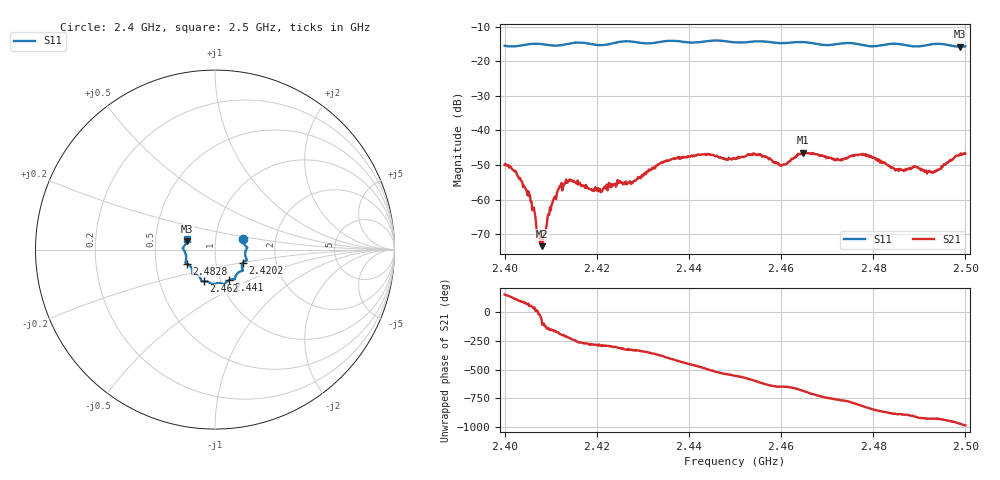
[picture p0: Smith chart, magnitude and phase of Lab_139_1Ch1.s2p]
# Hz S RI R 50
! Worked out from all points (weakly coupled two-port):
!   601 points, 2.4 GHz to 2.5 GHz, reference 50 ohm
!   highest |S21| = -46.42 dB at 2.4647 GHz (marker M1); lowest = -73.5 dB at 2.4082 GHz (marker M2)
!   lowest |S11| = -15.8 dB at 2.4988 GHz (marker M3), VSWR 1.39, Z = 36.4 + j3.4 ohm
!   |S11| at or under -10 dB: start of sweep to end of sweep
!   S12 and S22 are empty: the file has one direction only
!   S11 on the Smith chart (normalised r, x): 2.4 GHz: 1.36, +0.17; 2.4202 GHz: 1.35, -0.20; 2.441 GHz: 1.10, -0.39; 2.462 GHz: 0.83, -0.30; 2.4828 GHz: 0.72, -0.12; 2.5 GHz: 0.73, +0.09
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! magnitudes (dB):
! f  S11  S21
! 2.4 GHz  -15.5  -49.9
! 2.405 GHz  -15.1  -58.8
! 2.4075 GHz  -14.9  -69.3
! 2.4082 GHz  -15.0  -73.5
! 2.4103 GHz  -15.4  -61.1
! 2.4118 GHz  -15.4  -56.7
! 2.4143 GHz  -14.8  -54.5
! 2.4167 GHz  -14.6  -56.1
! 2.4202 GHz  -15.3  -57.5
! 2.4278 GHz  -14.3  -55.1
! 2.4333 GHz  -14.5  -49.7
! 2.441 GHz  -14.6  -47.3
! 2.45 GHz  -14.5  -48.3
! 2.462 GHz  -14.6  -48.9
! 2.4647 GHz  -14.4  -46.4
! 2.4667 GHz  -14.7  -46.8
! 2.478 GHz  -15.3  -47.0
! 2.4828 GHz  -15.1  -49.8
! 2.4833 GHz  -15.0  -50.3
! 2.493 GHz  -15.0  -52.3
! 2.4988 GHz  -15.8  -46.9
! 2.5 GHz  -15.6  -46.7
